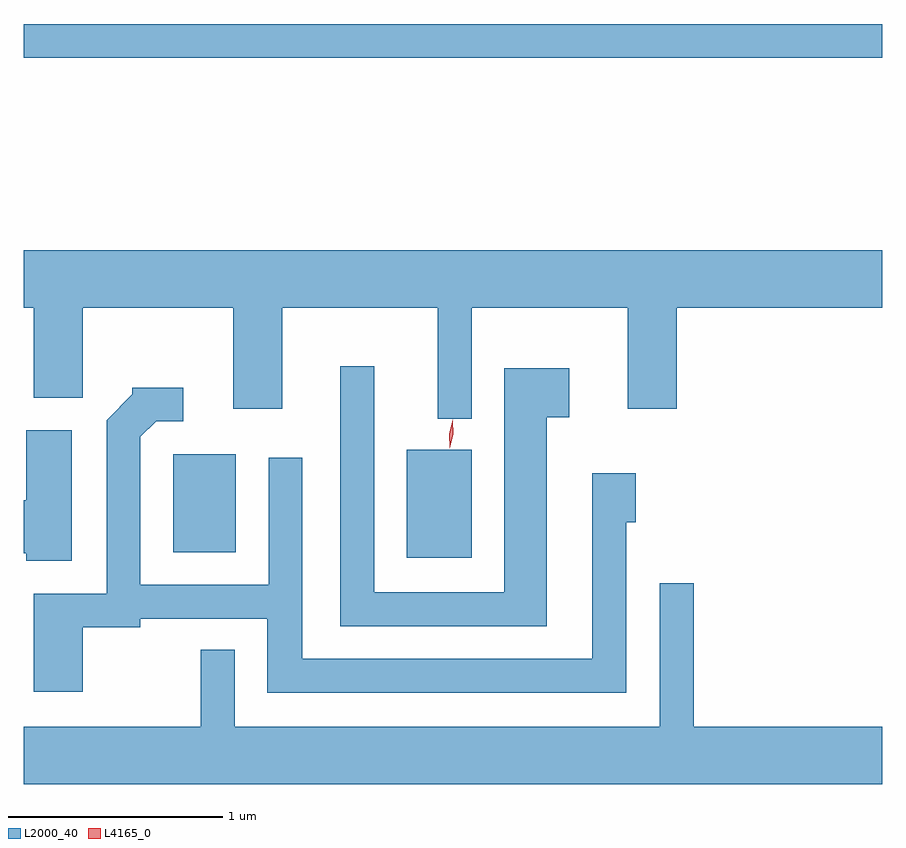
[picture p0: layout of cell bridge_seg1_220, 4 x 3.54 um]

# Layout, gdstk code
import gdstk
lib = gdstk.Library(unit=1e-6, precision=1e-09)
def R(c, l, rs):  # rectangles x0, y0, x1, y1
    for r in rs: c.add(gdstk.rectangle(r[:2], r[2:], *l))
def P(c, l, *ps):  # polygons
    for p in ps: c.add(gdstk.Polygon(p, *l))
L2000_40 = (2000, 40)
L4165_0 = (4165, 0)

bridge_seg1_220 = lib.new_cell('bridge_seg1_220')
R(bridge_seg1_220, L2000_40, [(722.851,858.451,723.154,858.954), (721.761,858.476,722.054,858.934), (721.066,860.781,725.066,860.939)])
P(bridge_seg1_220, L2000_40, [(723.154,859.616),(723.881,859.616),(723.881,859.146),(724.109,859.146),(724.109,859.616),(725.066,859.616),(725.066,859.884),(721.066,859.884),(721.066,859.616),(721.111,859.616),(721.111,859.196),(721.339,859.196),(721.339,859.616),(722.041,859.616),(722.041,859.146),(722.269,859.146),(722.269,859.616),(722.996,859.616),(722.996,859.098),(723.154,859.098)],
  [(723.504,859.106),(723.609,859.106),(723.609,859.334),(723.306,859.334),(723.306,858.289),(722.699,858.289),(722.699,859.343),(722.541,859.343),(722.541,858.131),(723.504,858.131)],
  [(723.874,858.616),(723.919,858.616),(723.919,858.844),(723.716,858.844),(723.716,857.979),(722.364,857.979),(722.364,858.918),(722.206,858.918),(722.206,858.324),(721.609,858.324),(721.609,859.014),(721.682,859.086),(721.808,859.086),(721.808,859.244),(721.571,859.244),(721.571,859.212),(721.451,859.092),(721.451,858.284),(721.111,858.284),(721.111,857.826),(721.339,857.826),(721.339,858.126),(721.609,858.126),(721.609,858.166),(722.201,858.166),(722.201,857.821),(723.874,857.821)],
  [(721.289,859.044),(721.076,859.044),(721.076,858.719),(721.066,858.719),(721.066,858.471),(721.076,858.471),(721.076,858.436),(721.289,858.436)],
  [(725.066,857.664),(724.189,857.664),(724.189,858.333),(724.031,858.333),(724.031,857.664),(722.049,857.664),(722.049,858.023),(721.891,858.023),(721.891,857.664),(721.066,857.664),(721.066,857.396),(725.066,857.396)])
P(bridge_seg1_220, L4165_0, [(723.051,858.961),(723.051,858.961),(723.048,859.028),(723.064,859.092),(723.064,859.093),(723.065,859.092),(723.068,859.026),(723.052,858.961)])

lib.write_gds('bridge_seg1_220.gds')
